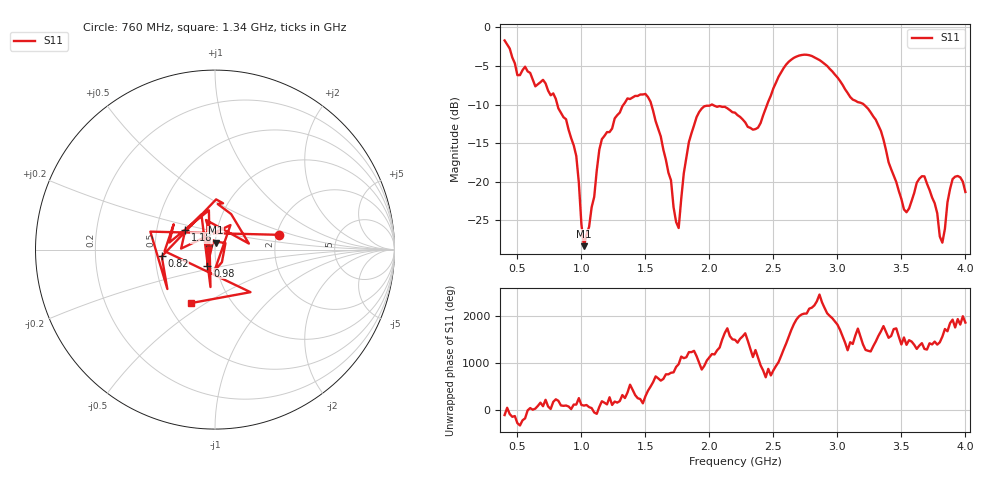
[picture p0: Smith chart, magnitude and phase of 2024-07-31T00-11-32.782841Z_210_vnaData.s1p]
!Created with skrf (http://scikit-rf.org).
# Hz S RI R 50.0
!freq ReS11 ImS11
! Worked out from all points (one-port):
!   181 points, 400 MHz to 4 GHz, reference 50 ohm
!   lowest |S11| = -28.3 dB at 1.02 GHz (marker M1), VSWR 1.08, Z = 50.2 + j3.84 ohm
!   |S11| at or under -10 dB: 812.1 MHz to 1.329 GHz (517 MHz wide, 48.3 % of centre); 1.546 GHz to 2.017 GHz (471 MHz wide, 26.4 % of centre); 3.207 GHz to end of sweep (the widest 3 of 4)
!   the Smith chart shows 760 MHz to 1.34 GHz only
!   S11 on the Smith chart (normalised r, x): 760 MHz: 2.05, +0.39; 820 MHz: 0.54, -0.04; 980 MHz: 0.90, -0.16; 1.18 GHz: 0.70, +0.16; 1.34 GHz: 0.65, -0.43
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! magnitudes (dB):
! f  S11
! 400 MHz  -1.7
! 500 MHz  -6.2
! 760 MHz  -8.8
! 820 MHz  -10.5
! 860 MHz  -11.6
! 960 MHz  -16.7
! 980 MHz  -20.1
! 1.02 GHz  -28.3
! 1.14 GHz  -15.8
! 1.18 GHz  -14.0
! 1.3 GHz  -11.0
! 1.34 GHz  -9.7
! 1.54 GHz  -9.6
! 1.76 GHz  -26.0
! 1.82 GHz  -16.8
! 1.9 GHz  -11.6
! 2.2 GHz  -11.0
! 2.38 GHz  -13.0
! 2.66 GHz  -3.9
! 2.86 GHz  -4.2
! 3.1 GHz  -9.0
! 3.3 GHz  -12.0
! 3.52 GHz  -23.6
! 3.56 GHz  -23.4
! 3.68 GHz  -19.3
! 3.82 GHz  -27.9
! 3.9 GHz  -19.6
! 4 GHz  -21.3
